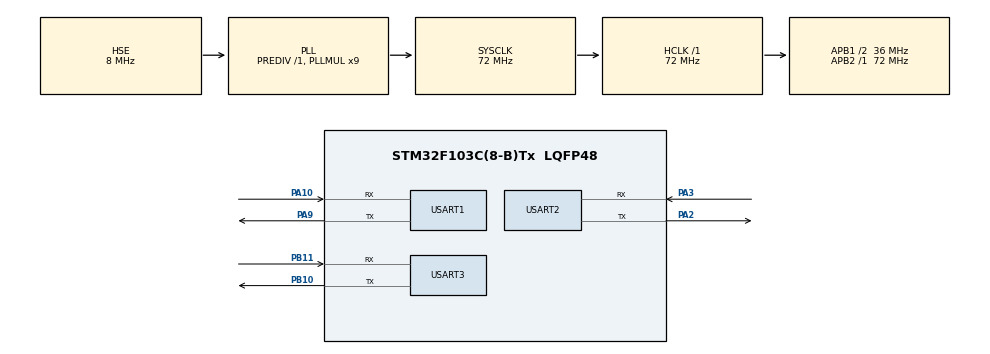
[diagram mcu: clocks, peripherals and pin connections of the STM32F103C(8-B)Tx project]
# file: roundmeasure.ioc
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Mcu.Family=STM32F1
Mcu.Name=STM32F103C(8-B)Tx
Mcu.Package=LQFP48
NVIC.PriorityGroup=NVIC_PRIORITYGROUP_4
NVIC.USART1_IRQn=true\:0\:0\:false\:false\:true\:true\:true\:true
NVIC.USART3_IRQn=true\:0\:0\:false\:false\:true\:true\:true\:true
PA10.Mode=Asynchronous
PA10.Signal=USART1_RX
PA13.Mode=Serial_Wire
PA13.Signal=SYS_JTMS-SWDIO
PA14.Mode=Serial_Wire
PA14.Signal=SYS_JTCK-SWCLK
PA2.Mode=Asynchronous
PA2.Signal=USART2_TX
PA3.Mode=Asynchronous
PA3.Signal=USART2_RX
PA9.Mode=Asynchronous
PA9.Signal=USART1_TX
PB10.Mode=Asynchronous
PB10.Signal=USART3_TX
PB11.Mode=Asynchronous
PB11.Signal=USART3_RX
PD0-OSC_IN.Mode=HSE-External-Oscillator
PD0-OSC_IN.Signal=RCC_OSC_IN
PD1-OSC_OUT.Mode=HSE-External-Oscillator
PD1-OSC_OUT.Signal=RCC_OSC_OUT
ProjectManager.HeapSize=0x200
ProjectManager.StackSize=0x400
ProjectManager.TargetToolchain=MDK-ARM V5.32
RCC.AHBFreq_Value=72000000
RCC.APB1CLKDivider=RCC_HCLK_DIV2
RCC.APB1Freq_Value=36000000
RCC.APB1TimFreq_Value=72000000
RCC.APB2Freq_Value=72000000
RCC.APB2TimFreq_Value=72000000
RCC.HCLKFreq_Value=72000000
RCC.PLLMUL=RCC_PLL_MUL9
RCC.PLLSourceVirtual=RCC_PLLSOURCE_HSE
RCC.SYSCLKFreq_VALUE=72000000
RCC.SYSCLKSource=RCC_SYSCLKSOURCE_PLLCLK
RCC.USBFreq_Value=72000000
USART1.VirtualMode=VM_ASYNC
USART2.VirtualMode=VM_ASYNC
USART3.VirtualMode=VM_ASYNC
board=custom

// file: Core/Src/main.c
/* USER CODE BEGIN Header */
/**
  ******************************************************************************
  * @file           : main.c
  * @brief          : Main program body
  ******************************************************************************
  * @attention
  *
  * Copyright (c) 2023 STMicroelectronics.
  * All rights reserved.
  *
  * This software is licensed under terms that can be found in the LICENSE file
  * in the root directory of this software component.
  * If no LICENSE file comes with this software, it is provided AS-IS.
  *
  ******************************************************************************
  */
/* USER CODE END Header */
#include "main.h"
#include "usart.h"
#include "gpio.h"

/* USER CODE BEGIN Includes */
#include <stdbool.h>
#include "57.h"
#include <stdio.h>
#include <math.h>
/* USER CODE END Includes */

/* USER CODE BEGIN PTD */
__IO bool rxFrameFlag = false;
uint8_t step[13]={0x01,0xFD,0x00,0x03,0xE8,0xB0,0x00,0x00,0x00,0x00,0x01,0x00,0x6B};
uint8_t mea[5]={0xA5,0x5A,0x04,0x00,0xFB};
uint8_t out[15]={0xAB,0xBA,0x00,0x7c,0x00,0x80,0x00,0x73,0x00,0xF3};
uint8_t Angle1[10],n1=10,d,RX01,rou[360];
int angle=0,i=0;
int R,Rmax,Rmin,Routside[360];
#define pi 3.141592
     float Rceliangbi=250;
     float Rinside[360];
     float x[360],y[360];
     float Rpoint[360];
     float Rlixiang;
     float A0=0,A1=0,B0=0,B1=0,C0=0,C1=0,C2=0,D0=0,E0=0,E1=0;
     float A=0,B=0,C=0,D=0,E=0;
     float Aw=0,Bw=0,Cw=0,Dw=0,Ew=0;
    float a,b,c,e;
     float Ox,Oy;
/* USER CODE END PTD */

void SystemClock_Config(void);

/* USER CODE BEGIN 0 */
void test()

{

}
/* USER CODE END 0 */

int main(void)
{

  /* MCU Configuration--------------------------------------------------------*/

  /* Reset of all peripherals, Initializes the Flash interface and the Systick. */
  HAL_Init();

  /* Configure the system clock */
  SystemClock_Config();

  /* Initialize all configured peripherals */
  MX_GPIO_Init();
  MX_USART2_UART_Init();
  MX_USART1_UART_Init();
  MX_USART3_UART_Init();
  /* USER CODE BEGIN 2 */
  HAL_Delay(2000);
	HAL_UART_Transmit(&huart2,(uint8_t *)step,13,HAL_MAX_DELAY);

	HAL_Delay(500);
	HAL_UART_Transmit(&huart1,(uint8_t *)mea,5,HAL_MAX_DELAY);
		HAL_Delay(500);
	HAL_UART_Receive_IT(&huart1,&RX01,1);
	HAL_Delay(5000);

	for (i=1;i<=360;i++)
	{
		angle=27.7*i;

		step[6]=(angle >> 24);
		step[7]=(angle >> 16);
		step[8]=(angle >> 8);
		step[9]=(angle >> 0);
		HAL_UART_Transmit(&huart2,(uint8_t *)step,13,HAL_MAX_DELAY);

		HAL_Delay(500);
		Routside[i-1]=d;
	}

         for(i=0;i<360;i++)
         {
           Rinside[i]=Rceliangbi-Routside[i];
           x[i]=Rinside[i]*cos(i*pi/180);
           y[i]=Rinside[i]*sin(i*pi/180);
        }

        int k;
        for(k=0;k<360;k++)
        {
          A0=A0+x[k]*x[k];
          A1=A1+x[k];
          B0=B0+x[k]*y[k];
          B1=B1+y[k];
          C0=C0+x[k]*x[k]*x[k];
          C1=C1+x[k]*y[k]*y[k];
          C2=C2+x[k]*x[k]+y[k]*y[k];
          D0=D0+y[k]*y[k];
          E0=E0+x[k]*x[k]*y[k];
          E1=E1+y[k]*y[k]*y[k];
        }

          Aw=360*A0;
          Bw=360*B0;
          Cw=360*C0+360*C1;
          Dw=360*D0;
          Ew=360*E0+360*E1;

          A=Aw-A1*A1;
          B=Bw-A1*B1;
          C=Cw-C2*A1;
          D=Dw+B1*B1;
          E=Ew+C2*B1;

             a=(B*E-C*D)/(A*D-B*B);
             b=(A*E-B*C)/(A*D-B*B);
             c=-(C2+a*A1+b*B1)/360;

      Ox=-a/2;
      Oy=-b/2;
      d=a*a/4;
      e=b*b/4;
      R=sqrt((a*a/4)-(b*b/4)-c);

      int j;
      for(j=0;j<360;j++)
      {
        Rpoint[j]=sqrt((x[j]-Ox)*(x[j]-Ox)+(y[j]-Oy)*(y[j]-Oy));
      }

      int n;
      Rmax=Rmin=Rpoint[0];
      for(n=1;n<360;n++)
      {
        if(Rpoint[n]>Rmax)
        {
          Rmax=Rpoint[n];
        }
        if(Rpoint[n]<Rmin)
        {
          Rmin=Rpoint[n];
        }
      }

  /* USER CODE END 2 */

  /* Infinite loop */
  /* USER CODE BEGIN WHILE */
  while (1)
  {
//HAL_Delay(200);
//HAL_UART_Transmit(&huart3,(uint8_t *)out,15,HAL_MAX_DELAY);

    /* USER CODE END WHILE */

  }
}

void SystemClock_Config(void)
{
  RCC_OscInitTypeDef RCC_OscInitStruct = {0};
  RCC_ClkInitTypeDef RCC_ClkInitStruct = {0};

  /** Initializes the RCC Oscillators according to the specified parameters
  * in the RCC_OscInitTypeDef structure.
  */
  RCC_OscInitStruct.OscillatorType = RCC_OSCILLATORTYPE_HSE;
  RCC_OscInitStruct.HSEState = RCC_HSE_ON;
  RCC_OscInitStruct.HSEPredivValue = RCC_HSE_PREDIV_DIV1;
  RCC_OscInitStruct.HSIState = RCC_HSI_ON;
  RCC_OscInitStruct.PLL.PLLState = RCC_PLL_ON;
  RCC_OscInitStruct.PLL.PLLSource = RCC_PLLSOURCE_HSE;
  RCC_OscInitStruct.PLL.PLLMUL = RCC_PLL_MUL9;
  if (HAL_RCC_OscConfig(&RCC_OscInitStruct) != HAL_OK)
  {
    Error_Handler();
  }

  /** Initializes the CPU, AHB and APB buses clocks
  */
  RCC_ClkInitStruct.ClockType = RCC_CLOCKTYPE_HCLK|RCC_CLOCKTYPE_SYSCLK
                              |RCC_CLOCKTYPE_PCLK1|RCC_CLOCKTYPE_PCLK2;
  RCC_ClkInitStruct.SYSCLKSource = RCC_SYSCLKSOURCE_PLLCLK;
  RCC_ClkInitStruct.AHBCLKDivider = RCC_SYSCLK_DIV1;
  RCC_ClkInitStruct.APB1CLKDivider = RCC_HCLK_DIV2;
  RCC_ClkInitStruct.APB2CLKDivider = RCC_HCLK_DIV1;

  if (HAL_RCC_ClockConfig(&RCC_ClkInitStruct, FLASH_LATENCY_2) != HAL_OK)
  {
    Error_Handler();
  }
}

/* USER CODE BEGIN 4 */
 void HAL_UART_RxCpltCallback(UART_HandleTypeDef *huart)
{
 if(huart== &huart1)
 {
    if((RX01==0xB4)&&(n1>8))  //判断帧头
	  {
   		n1=0;
  	}
  	if(n1<8)//有几位就接收几位，从零开始
  	{
	    Angle1[n1]=RX01;
	  	n1++;
	  }
	  if(n1==8)
  	{

	  d=(Angle1[5]<<8)|Angle1[6];
    	   n1++;
    }
  	HAL_UART_Receive_IT(&huart1,&RX01,5);
	}

}

/* USER CODE END 4 */

void Error_Handler(void)
{
  __disable_irq();
  while (1)
  {
  }
}
